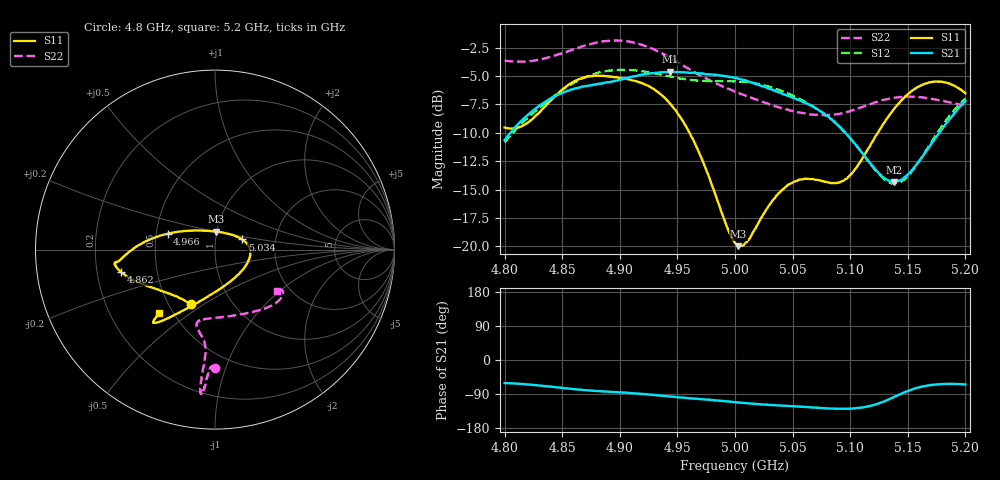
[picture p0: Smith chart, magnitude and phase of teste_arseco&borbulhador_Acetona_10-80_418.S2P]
! Network Analyzer HP8722D
! Hewlett-Packard
! Data name: Linha & Wilkinson
! Saver's name: Rodrigo Anjos
! Comments: Teste da utilização de aquisição
! continua pelo VNA HP8722D
! Time and date: 17/4/2025 17:50
!  Frequency  S11  S21  S12  S22
# HZ  S  MA R 50
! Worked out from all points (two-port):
!   401 points, 4.8 GHz to 5.2 GHz, reference 50 ohm
!   highest |S21| = -4.63 dB at 4.944 GHz (marker M1); lowest = -14.3 dB at 5.138 GHz (marker M2)
!   |S21| within 3 dB of the highest: 4.83 GHz to 5.066 GHz (236.4 MHz wide, 4.78 % of centre); 5.196036 GHz to end of sweep
!   lowest |S11| = -20.0 dB at 5.003 GHz (marker M3), VSWR 1.22, Z = 49.4 + j9.98 ohm
!   |S11| at or under -10 dB: 4.961 GHz to 5.124 GHz (163.4 MHz wide, 3.24 % of centre)
!   |S22| runs from -8.5 to -1.9 dB; largest |S21 - S12| = 0.88
!   S11 on the Smith chart (normalised r, x): 4.8 GHz: 0.64, -0.44; 4.862 GHz: 0.30, -0.11; 4.966 GHz: 0.57, +0.11; 5.034 GHz: 1.35, +0.16; 5.2 GHz: 0.42, -0.39
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4.8e9  0.3335 -113.7  0.2935 -60.9  0.2865 -175.0  0.6575 -90.2
4.819e9  0.3478 -133.8  0.3745 -64.2  0.3627 -173.8  0.6519 -91.7
4.862e9  0.5373 -166.4  0.4975 -77.4  0.531 -177.1  0.7452 -93.9
4.867e9  0.5501 -168.4  0.5048 -78.8  0.5471 -178.0  0.7584 -94.2
4.899e9  0.5518 -172.9  0.539 -85.4  0.5976 175.3  0.8055 -95.6
4.934e9  0.4742 -178.9  0.5816 -93.7  0.5739 171.7  0.7166 -96.0
4.944e9  0.4232 176.5  0.5866 -96.4  0.5583 171.8  0.6748 -95.8
4.966e9  0.2786 161.5  0.579 -102.2  0.538 173.6  0.5799 -95.2
5e9  0.1035 98.4  0.5522 -111.4  0.5341 176.1  0.4794 -99.4
5.003e9  0.1002 87.9  0.5468 -112.2  0.5314 176.0  0.4739 -100.2
5.012e9  0.1071 59.2  0.5316 -114.4  0.5275 175.7  0.4549 -102.1
5.034e9  0.1622 20.3  0.4836 -119.3  0.4971 174.7  0.4153 -103.6
5.048e9  0.1888 5.9  0.4561 -121.6  0.4667 174.0  0.3965 -100.3
5.067e9  0.1979 -14.4  0.4132 -125.2  0.4165 173.5  0.3807 -90.5
5.086e9  0.1901 -44.7  0.3554 -128.4  0.3528 173.5  0.3802 -76.1
5.097e9  0.1987 -67.2  0.3108 -128.7  0.3117 174.6  0.3904 -67.0
5.134e9  0.3775 -117.0  0.1941 -103.3  0.1911 -156.3  0.4471 -43.0
5.138e9  0.403 -119.4  0.1921 -97.8  0.1893 -149.9  0.4506 -41.2
5.151e9  0.4719 -125.1  0.2094 -80.6  0.2072 -130.1  0.4565 -36.4
5.17e9  0.5284 -129.5  0.2804 -66.1  0.2856 -112.2  0.4473 -32.1
5.184e9  0.5244 -130.7  0.3515 -63.0  0.3626 -107.3  0.4334 -31.1
5.2e9  0.4721 -131.1  0.4361 -64.5  0.4481 -106.6  0.4164 -33.5
